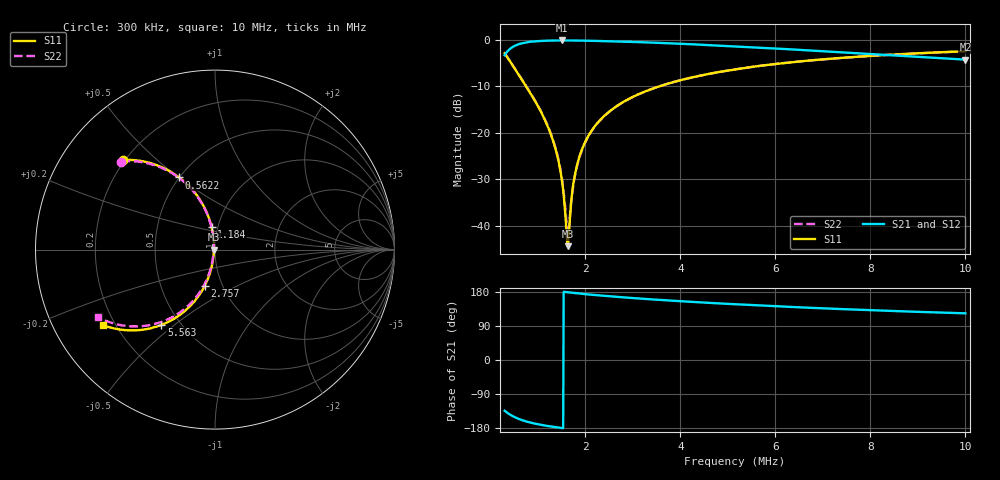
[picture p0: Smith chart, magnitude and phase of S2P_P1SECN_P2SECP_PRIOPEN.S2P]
!Keysight Technologies,E5061B,MY49709559,B.05.06
!Date: Thu Apr 07 18:57:59 2022
!Data & Calibration Information:
!Freq	S11:SOLT2(ON)	S21:SOLT2(ON)	S12:SOLT2(ON)	S22:SOLT2(ON)
# Hz S RI R 50
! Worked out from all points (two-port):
!   1000 points, 300 kHz to 10 MHz, reference 50 ohm
!   highest |S21| = -0.14 dB at 1.514 MHz (marker M1); lowest = -4.3 dB at 10 MHz (marker M2)
!   |S21| within 3 dB of the highest: 311.2 kHz to 8.159 MHz (7.848 MHz wide, 185 % of centre)
!   lowest |S11| = -44.4 dB at 1.63 MHz (marker M3), VSWR 1.01, Z = 49.4 - j0.069 ohm
!   |S11| at or under -10 dB: 752.5 kHz to 3.559 MHz (2.806 MHz wide, 130 % of centre)
!   |S22| runs from -42.0 to -2.5 dB; largest |S21 - S12| = 0.006
!   S11 on the Smith chart (normalised r, x): 300 kHz: 0.19, +0.39; 562.2 kHz: 0.50, +0.50; 1.184 MHz: 0.93, +0.24; 2.757 MHz: 0.83, -0.35; 5.563 MHz: 0.39, -0.45; 10 MHz: 0.15, -0.30
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300000  -0.5146 0.4986  -0.4728 -0.4916  -0.4734 -0.4874  -0.5212 0.49
562162.2  -0.1989 0.4017  -0.7924 -0.3923  -0.7901 -0.3885  -0.2033 0.4019
824324.3  -0.0767 0.2655  -0.9149 -0.2536  -0.9108 -0.2508  -0.0788 0.267
1183584  -0.0187 0.1242  -0.9724 -0.1068  -0.9675 -0.1069  -0.0203 0.1259
1387487  -0.00831 0.062  -0.9817 -0.0419  -0.9777 -0.0428  -0.00978 0.0632
1455455  -0.00675 0.0435  -0.9838 -0.0223  -0.979 -0.0236  -0.00824 0.0449
1513714  -0.00586 0.0282  -0.9843 -0.00622  -0.9799 -0.00773  -0.00764 0.0294
1591391  -0.0057 0.00898  -0.9835 0.0145  -0.9799 0.0132  -0.0076 0.0102
1630230  -0.00599 -0.000698  -0.9833 0.0241  -0.9795 0.0222  -0.00789 0.000728
1669069  -0.00617 -0.00972  -0.9825 0.0343  -0.9793 0.0323  -0.00814 -0.00833
1717618  -0.00708 -0.0208  -0.9816 0.0455  -0.9786 0.0437  -0.00894 -0.0194
1766166  -0.00786 -0.0314  -0.9808 0.0567  -0.9771 0.0545  -0.00995 -0.0301
1834134  -0.00945 -0.0458  -0.9788 0.0718  -0.9748 0.0705  -0.0115 -0.0445
1921522  -0.012 -0.0636  -0.9766 0.0905  -0.9728 0.089  -0.0144 -0.0623
2251652  -0.0261 -0.1242  -0.9607 0.155  -0.9577 0.1528  -0.0291 -0.1227
2756557  -0.0566 -0.2004  -0.9277 0.2368  -0.9261 0.2339  -0.0611 -0.1986
3543043  -0.1173 -0.2916  -0.8646 0.3352  -0.8629 0.3337  -0.1252 -0.2883
5154855  -0.2621 -0.4038  -0.7134 0.4618  -0.7124 0.4604  -0.2764 -0.3942
5562663  -0.2993 -0.4201  -0.6751 0.4815  -0.6739 0.4802  -0.315 -0.4084
6766667  -0.4039 -0.4466  -0.5659 0.5172  -0.5651 0.5161  -0.4236 -0.4276
8388188  -0.5267 -0.4456  -0.438 0.5277  -0.4371 0.5267  -0.5499 -0.4154
1e7  -0.6254 -0.42  -0.3348 0.5126  -0.334 0.5117  -0.6503 -0.3777
